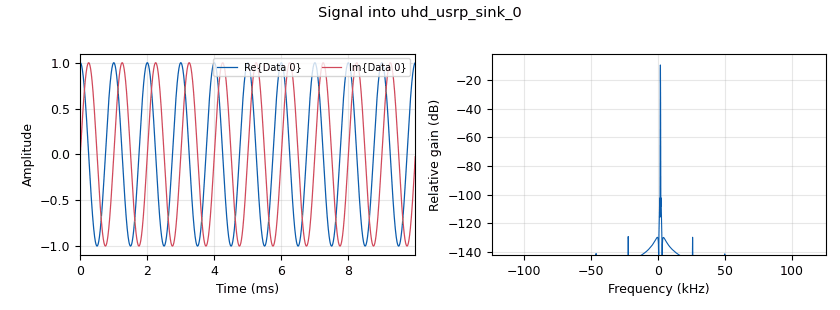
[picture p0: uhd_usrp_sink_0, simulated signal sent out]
<?xml version='1.0' encoding='utf-8'?>
<?grc format='1' created='3.7.9'?>
<flow_graph>
<block>
<key>options</key>
<param><key>id</key><value>top_block</value></param>
<param><key>category</key><value>Custom</value></param>
<param><key>generate_options</key><value>wx_gui</value></param>
</block>
<block>
<key>variable_text_box</key>
<param><key>id</key><value>freq</value></param>
<param><key>converver</key><value>float_converter</value></param>
<param><key>value</key><value>908.42</value></param>
<param><key>formatter</key><value>None</value></param>
<param><key>label</key><value></value></param>
</block>
<block>
<key>variable_slider</key>
<param><key>id</key><value>gain</value></param>
<param><key>converver</key><value>float_converter</value></param>
<param><key>value</key><value>40</value></param>
<param><key>label</key><value></value></param>
<param><key>max</key><value>90</value></param>
<param><key>min</key><value>0</value></param>
<param><key>num_steps</key><value>100</value></param>
<param><key>style</key><value>wx.SL_HORIZONTAL</value></param>
</block>
<block>
<key>variable</key>
<param><key>id</key><value>samp_rate</value></param>
<param><key>value</key><value>250e3</value></param>
</block>
<block>
<key>analog_sig_source_x</key>
<param><key>id</key><value>analog_sig_source_x_0</value></param>
<param><key>amp</key><value>1</value></param>
<param><key>freq</key><value>1000</value></param>
<param><key>offset</key><value>0</value></param>
<param><key>type</key><value>complex</value></param>
<param><key>samp_rate</key><value>samp_rate</value></param>
<param><key>waveform</key><value>analog.GR_COS_WAVE</value></param>
</block>
<block>
<key>uhd_usrp_sink</key>
<param><key>id</key><value>uhd_usrp_sink_0</value></param>
<param><key>ant0</key><value>TX/RX</value></param>
<param><key>center_freq0</key><value>freq</value></param>
<param><key>norm_gain0</key><value>False</value></param>
<param><key>gain0</key><value>gain</value></param>
<param><key>clock_rate</key><value>0.0</value></param>
<param><key>dev_args</key><value>""</value></param>
<param><key>type</key><value>fc32</value></param>
<param><key>samp_rate</key><value>samp_rate</value></param>
<param><key>hide_cmd_port</key><value>False</value></param>
<param><key>sync</key><value></value></param>
<param><key>len_tag_name</key><value></value></param>
</block>
<connection><source_block_id>analog_sig_source_x_0</source_block_id><sink_block_id>uhd_usrp_sink_0</sink_block_id><source_key>0</source_key><sink_key>0</sink_key></connection>
</flow_graph>
